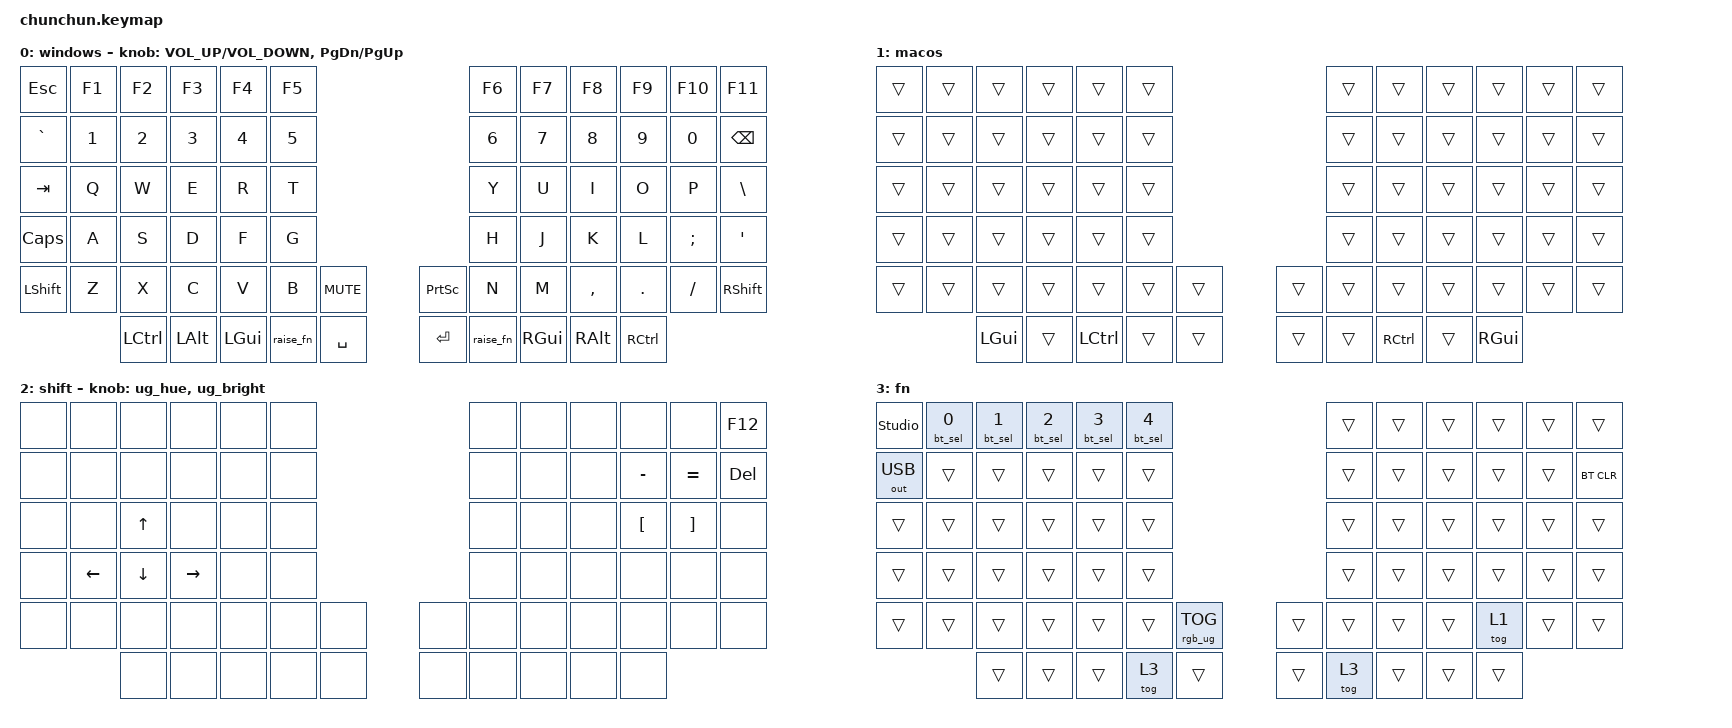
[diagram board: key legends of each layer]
#include <behaviors.dtsi>
#include <dt-bindings/zmk/bt.h>
#include <dt-bindings/zmk/keys.h>
#include <dt-bindings/zmk/outputs.h>
#include <dt-bindings/zmk/rgb.h>

/ {
    behaviors {
        ug_hue: ug_hue {
            compatible = "zmk,behavior-sensor-rotate";
            #sensor-binding-cells = <0>;
            bindings = <&rgb_ug RGB_HUI>, <&rgb_ug RGB_HUD>;
        };

        ug_sat: ug_sat {
            compatible = "zmk,behavior-sensor-rotate";
            #sensor-binding-cells = <0>;
            bindings = <&rgb_ug RGB_SAI>, <&rgb_ug RGB_SAD>;
        };

        ug_bright: ug_bright {
            compatible = "zmk,behavior-sensor-rotate";
            #sensor-binding-cells = <0>;
            bindings = <&rgb_ug RGB_BRI>, <&rgb_ug RGB_BRD>;
        };

        // Hold for layer 2, double tap to lock the fn layer
        raise_fn: raise_fn {
            compatible = "zmk,behavior-tap-dance";
            #binding-cells = <0>;
            bindings = <&mo 2>, <&tog 3>;
            tapping-term-ms = <200>;
        };

        // Switch output to Bluetooth, then pick the profile; plain BT_SEL stays on USB while plugged in
        bt_sel: bt_sel {
            compatible = "zmk,behavior-macro-one-param";
            #binding-cells = <1>;
            bindings = <&out OUT_BLE>, <&macro_param_1to2>, <&bt BT_SEL MACRO_PLACEHOLDER>;
        };
    };

    keymap {
        compatible = "zmk,keymap";

        windows {
            bindings = <
&kp ESC    &kp F1  &kp F2     &kp F3    &kp F4    &kp F5                                  &kp F6     &kp F7    &kp F8     &kp F9     &kp F10   &kp F11
&kp GRAVE  &kp N1  &kp N2     &kp N3    &kp N4    &kp N5                                  &kp N6     &kp N7    &kp N8     &kp N9     &kp N0    &kp BSPC
&kp TAB    &kp Q   &kp W      &kp E     &kp R     &kp T                                   &kp Y      &kp U     &kp I      &kp O      &kp P     &kp BSLH
&kp CAPS   &kp A   &kp S      &kp D     &kp F     &kp G                                   &kp H      &kp J     &kp K      &kp L      &kp SEMI  &kp APOS
&kp LSHFT  &kp Z   &kp X      &kp C     &kp V     &kp B      &kp C_MUTE  &kp PRINTSCREEN  &kp N      &kp M     &kp COMMA  &kp DOT    &kp FSLH  &kp RSHFT
                   &kp LCTRL  &kp LALT  &kp LGUI  &raise_fn  &kp SPACE   &kp ENTER        &raise_fn  &kp RGUI  &kp RALT   &kp RCTRL
            >;

            sensor-bindings =
                <&inc_dec_kp C_VOLUME_UP C_VOLUME_DOWN>,
                <&inc_dec_kp PG_DN PG_UP>;
        };

        macos {
            bindings = <
&trans  &trans  &trans    &trans  &trans     &trans                  &trans  &trans     &trans  &trans    &trans  &trans
&trans  &trans  &trans    &trans  &trans     &trans                  &trans  &trans     &trans  &trans    &trans  &trans
&trans  &trans  &trans    &trans  &trans     &trans                  &trans  &trans     &trans  &trans    &trans  &trans
&trans  &trans  &trans    &trans  &trans     &trans                  &trans  &trans     &trans  &trans    &trans  &trans
&trans  &trans  &trans    &trans  &trans     &trans  &trans  &trans  &trans  &trans     &trans  &trans    &trans  &trans
                &kp LGUI  &trans  &kp LCTRL  &trans  &trans  &trans  &trans  &kp RCTRL  &trans  &kp RGUI
            >;
        };

        shift {
            bindings = <
&none  &none     &none     &none      &none  &none                &none  &none  &none  &none      &none      &kp F12
&none  &none     &none     &none      &none  &none                &none  &none  &none  &kp MINUS  &kp EQUAL  &kp DEL
&none  &none     &kp UP    &none      &none  &none                &none  &none  &none  &kp LBKT   &kp RBKT   &none
&none  &kp LEFT  &kp DOWN  &kp RIGHT  &none  &none                &none  &none  &none  &none      &none      &none
&none  &none     &none     &none      &none  &none  &none  &none  &none  &none  &none  &none      &none      &none
                 &none     &none      &none  &none  &none  &none  &none  &none  &none  &none
            >;

            sensor-bindings = <&ug_hue>, <&ug_bright>;
        };

        fn {
            bindings = <
&studio_unlock  &bt_sel 0  &bt_sel 1  &bt_sel 2  &bt_sel 3  &bt_sel 4                           &trans  &trans  &trans  &trans  &trans  &trans
&out OUT_USB    &trans     &trans     &trans     &trans     &trans                              &trans  &trans  &trans  &trans  &trans  &bt BT_CLR
&trans          &trans     &trans     &trans     &trans     &trans                              &trans  &trans  &trans  &trans  &trans  &trans
&trans          &trans     &trans     &trans     &trans     &trans                              &trans  &trans  &trans  &trans  &trans  &trans
&trans          &trans     &trans     &trans     &trans     &trans     &rgb_ug RGB_TOG  &trans  &trans  &trans  &trans  &tog 1  &trans  &trans
                           &trans     &trans     &trans     &tog 3     &trans           &trans  &tog 3  &trans  &trans  &trans
            >;
        };
    };
};
